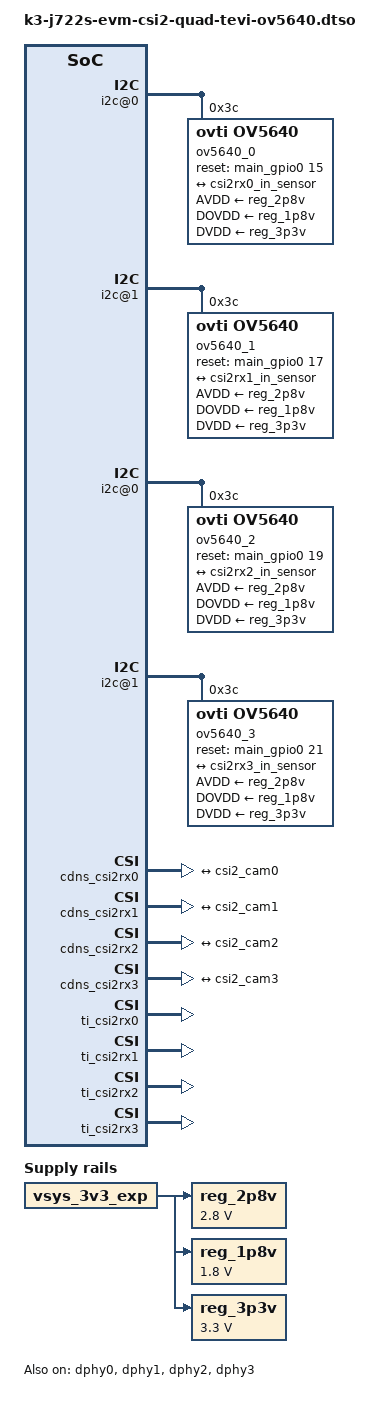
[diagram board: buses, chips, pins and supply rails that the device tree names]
// SPDX-License-Identifier: GPL-2.0-only OR MIT
/*
 * DT Overlay for 4 x TEVI OV5640 MIPI Camera module on J722S-EVM board.
 *
 * Copyright (C) 2025 Texas Instruments Incorporated - https://www.ti.com/
 */

/dts-v1/;
/plugin/;

#include <dt-bindings/gpio/gpio.h>
#include "k3-pinctrl.h"

&main_pmx0 {
	cam0_reset_pins_default: cam0-default-reset-pins {
		pinctrl-single,pins = <
			J722S_IOPAD(0x03c, PIN_OUTPUT, 7) /* (R22) GPIO0_15 */
		>;
	};

	cam1_reset_pins_default: cam1-default-reset-pins {
		pinctrl-single,pins = <
			J722S_IOPAD(0x044, PIN_OUTPUT, 7) /* (R26) GPIO0_17 */
		>;
	};

	cam2_reset_pins_default: cam2-default-reset-pins {
		pinctrl-single,pins = <
			J722S_IOPAD(0x04c, PIN_OUTPUT, 7) /* (T25) GPIO0_19 */
		>;
	};

	cam3_reset_pins_default: cam3-default-reset-pins {
		pinctrl-single,pins = <
			J722S_IOPAD(0x054, PIN_OUTPUT, 7) /* (T21) GPIO0_21 */
		>;
	};
};

&{/} {
	clk_ov5640_fixed: clock-24000000 {
		compatible = "fixed-clock";
		#clock-cells = <0>;
		clock-frequency = <24000000>;
	};

	reg_2p8v: regulator-2p8v {
		compatible = "regulator-fixed";
		regulator-name = "2P8V";
		regulator-min-microvolt = <2800000>;
		regulator-max-microvolt = <2800000>;
		vin-supply = <&vsys_3v3_exp>;
		regulator-always-on;
	};

	reg_1p8v: regulator-1p8v {
		compatible = "regulator-fixed";
		regulator-name = "1P8V";
		regulator-min-microvolt = <1800000>;
		regulator-max-microvolt = <1800000>;
		vin-supply = <&vsys_3v3_exp>;
		regulator-always-on;
	};

	reg_3p3v: regulator-3p3v {
		compatible = "regulator-fixed";
		regulator-name = "3P3V";
		regulator-min-microvolt = <3300000>;
		regulator-max-microvolt = <3300000>;
		vin-supply = <&vsys_3v3_exp>;
		regulator-always-on;
	};
};

&csi01_mux {
	idle-state = <1>;
};

&csi23_mux {
	idle-state = <1>;
};

&pca9543_0 {
	#address-cells = <1>;
	#size-cells = <0>;

	/* CAM0 I2C */
	i2c@0 {
		#address-cells = <1>;
		#size-cells = <0>;
		reg = <0>;

		ov5640_0: camera@3c {
			compatible = "ovti,ov5640";
			reg = <0x3c>;
			clocks = <&clk_ov5640_fixed>;
			clock-names = "xclk";

			AVDD-supply = <&reg_2p8v>;
			DOVDD-supply = <&reg_1p8v>;
			DVDD-supply = <&reg_3p3v>;

			pinctrl-names = "default";
			pinctrl-0 = <&cam0_reset_pins_default>;

			reset-gpios = <&main_gpio0 15 GPIO_ACTIVE_HIGH>;

			port {
				csi2_cam0: endpoint {
					remote-endpoint = <&csi2rx0_in_sensor>;
					clock-lanes = <0>;
					data-lanes = <1 2>;
				};
			};
		};
	};

	/* CAM1 I2C */
	i2c@1 {
		#address-cells = <1>;
		#size-cells = <0>;
		reg = <1>;

		ov5640_1: camera@3c {
			compatible = "ovti,ov5640";
			reg = <0x3c>;
			clocks = <&clk_ov5640_fixed>;
			clock-names = "xclk";

			AVDD-supply = <&reg_2p8v>;
			DOVDD-supply = <&reg_1p8v>;
			DVDD-supply = <&reg_3p3v>;

			pinctrl-names = "default";
			pinctrl-0 = <&cam1_reset_pins_default>;

			reset-gpios = <&main_gpio0 17 GPIO_ACTIVE_HIGH>;

			port {
				csi2_cam1: endpoint {
					remote-endpoint = <&csi2rx1_in_sensor>;
					clock-lanes = <0>;
					data-lanes = <1 2>;
				};
			};
		};
	};
};

&pca9543_1 {
	#address-cells = <1>;
	#size-cells = <0>;

	/* CAM0 I2C */
	i2c@0 {
		#address-cells = <1>;
		#size-cells = <0>;
		reg = <0>;

		ov5640_2: camera@3c {
			compatible = "ovti,ov5640";
			reg = <0x3c>;
			clocks = <&clk_ov5640_fixed>;
			clock-names = "xclk";

			AVDD-supply = <&reg_2p8v>;
			DOVDD-supply = <&reg_1p8v>;
			DVDD-supply = <&reg_3p3v>;

			pinctrl-names = "default";
			pinctrl-0 = <&cam2_reset_pins_default>;

			reset-gpios = <&main_gpio0 19 GPIO_ACTIVE_HIGH>;

			port {
				csi2_cam2: endpoint {
					remote-endpoint = <&csi2rx2_in_sensor>;
					clock-lanes = <0>;
					data-lanes = <1 2>;
				};
			};
		};
	};

	/* CAM1 I2C */
	i2c@1 {
		#address-cells = <1>;
		#size-cells = <0>;
		reg = <1>;

		ov5640_3: camera@3c {
			compatible = "ovti,ov5640";
			reg = <0x3c>;
			clocks = <&clk_ov5640_fixed>;
			clock-names = "xclk";

			AVDD-supply = <&reg_2p8v>;
			DOVDD-supply = <&reg_1p8v>;
			DVDD-supply = <&reg_3p3v>;

			pinctrl-names = "default";
			pinctrl-0 = <&cam3_reset_pins_default>;

			reset-gpios = <&main_gpio0 21 GPIO_ACTIVE_HIGH>;

			port {
				csi2_cam3: endpoint {
					remote-endpoint = <&csi2rx3_in_sensor>;
					clock-lanes = <0>;
					data-lanes = <1 2>;
				};
			};
		};
	};
};

&cdns_csi2rx0 {
	ports {
		#address-cells = <1>;
		#size-cells = <0>;

		csi0_port0: port@0 {
			reg = <0>;
			status = "okay";

			csi2rx0_in_sensor: endpoint {
				remote-endpoint = <&csi2_cam0>;
				bus-type = <4>; /* CSI2 DPHY */
				clock-lanes = <0>;
				data-lanes = <1 2>;
			};
		};
	};
};

&cdns_csi2rx1 {
	ports {
		#address-cells = <1>;
		#size-cells = <0>;

		csi1_port0: port@0 {
			reg = <0>;
			status = "okay";

			csi2rx1_in_sensor: endpoint {
				remote-endpoint = <&csi2_cam1>;
				bus-type = <4>; /* CSI2 DPHY */
				clock-lanes = <0>;
				data-lanes = <1 2>;
			};
		};
	};
};

&cdns_csi2rx2 {
	ports {
		#address-cells = <1>;
		#size-cells = <0>;

		csi2_port0: port@0 {
			reg = <0>;
			status = "okay";

			csi2rx2_in_sensor: endpoint {
				remote-endpoint = <&csi2_cam2>;
				bus-type = <4>; /* CSI2 DPHY */
				clock-lanes = <0>;
				data-lanes = <1 2>;
			};
		};
	};
};

&cdns_csi2rx3 {
	ports {
		#address-cells = <1>;
		#size-cells = <0>;

		csi3_port0: port@0 {
			reg = <0>;
			status = "okay";

			csi2rx3_in_sensor: endpoint {
				remote-endpoint = <&csi2_cam3>;
				bus-type = <4>; /* CSI2 DPHY */
				clock-lanes = <0>;
				data-lanes = <1 2>;
			};
		};
	};
};

&ti_csi2rx0 {
	status = "okay";
};

&dphy0 {
	status = "okay";
};

&ti_csi2rx1 {
	status = "okay";
};

&dphy1 {
	status = "okay";
};

&ti_csi2rx2 {
	status = "okay";
};

&dphy2 {
	status = "okay";
};

&ti_csi2rx3 {
	status = "okay";
};

&dphy3 {
	status = "okay";
};
